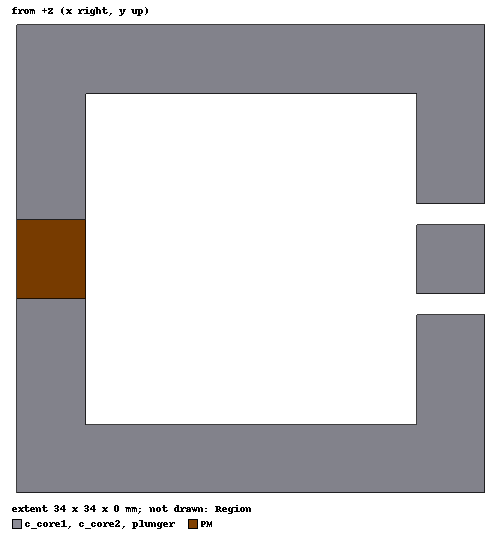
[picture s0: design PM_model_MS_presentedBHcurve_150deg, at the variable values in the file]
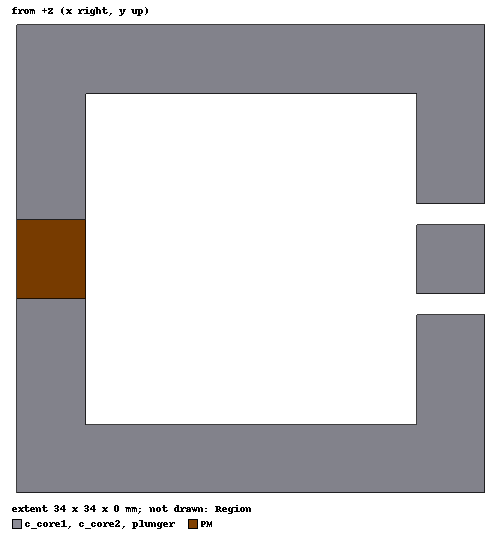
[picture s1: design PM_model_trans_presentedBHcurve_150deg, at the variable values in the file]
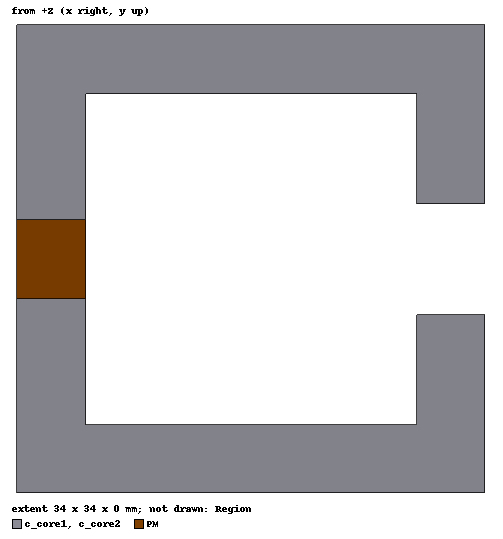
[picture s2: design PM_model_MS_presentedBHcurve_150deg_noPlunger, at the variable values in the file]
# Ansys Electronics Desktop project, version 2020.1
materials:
  vacuum: permittivity=1
  iron: permeability=4000 conductivity=10300000
  copper: permeability=0.999991 conductivity=58000000
  VACODYM 633AP  20Â°C: permeability{HUnit=kOe BUnit=tesla curve (-19, -1.9) (-18.9618, -1.81316) (-18.9237, -1.72632) (-18.8855, -1.63947) (-18.8473, -1.55263) (-18.8092, -1.46579) (-18.771, -1.37895) (-18.7328, -1.2921) (-18.6947, -1.20526) (-18.6565, -1.11842) (-18.6183, -1.03158) (-18.5692, -0.935463) (-18.5202, -0.865327) (-18.4711, -0.813935) (-18.422, -0.775376) (-18.3729, -0.745542) (-18.3239, -0.721724) (-18.2748, -0.702152) (-18.2257, -0.685651) (-18.1767, -0.671427) (-18.1276, -0.658928) (-18.0403, -0.639817) (-17.9531, -0.623525) (-17.8659, -0.609179) (-17.7786, -0.59623) (-17.6914, -0.584316) (-17.6041, -0.573187) (-17.5169, -0.562669) (-17.4296, -0.552635) (-17.3424, -0.542992) (-17.2552, -0.532926) (-15.5296, -0.352134) (-13.8041, -0.171341) (-12.1688, 0) (-12.0786, 0.00945162) (-10.3531, 0.190244) (-8.62758, 0.371037) (-6.90206, 0.551829) (-5.17655, 0.732622) (-3.45103, 0.913415) (-1.72552, 1.09421) (0, 1.275)} conductivity=714286 magnetic_coercivity{Magnitude=-12.168817kOe DirComp1=0 DirComp2=1 DirComp3=0}
  steel_1008: permeability=10000000000 conductivity=2000000 core_loss_type=None mass_density=7872 stacking_type=Solid
  NdFe35  150Â°C: permittivity=1 permeability{HUnit=A_per_meter BUnit=tesla curve (-1000000, -2.56666667) (-995000, -2.53458333) (-990000, -2.5025) (-985000, -2.47041667) (-980000, -2.43833333) (-975000, -2.40625) (-970000, -2.37416667) (-965000, -2.34208333) (-960000, -2.31) (-955000, -2.27791667) (-950000, -2.24583333) (-945000, -2.21375) (-940000, -2.18166667) (-935000, -2.14958333) (-930000, -2.1175) (-925000, -2.08541667) (-920000, -2.05333333) (-915000, -2.02125) (-910000, -1.98916667) (-905000, -1.95708333) (-900000, -1.925) (-895000, -1.89291667) (-890000, -1.86083333) (-885000, -1.82875) (-880000, -1.79666667) (-875000, -1.76458333) (-870000, -1.7325) (-865000, -1.70041667) (-860000, -1.66833333) (-855000, -1.63625) (-850000, -1.60416667) (-845000, -1.57208333) (-840000, -1.54) (-835000, -1.50791667) (-830000, -1.47583333) (-825000, -1.44375) (-820000, -1.41166667) (-815000, -1.37958333) (-810000, -1.3475) (-805000, -1.31541667) (-800000, -1.28333333) (-795000, -1.25125) (-790000, -1.21916667) (-785000, -1.18708333) (-780000, -1.155) (-775000, -1.12291667) (-770000, -1.09083333) (-765000, -1.05875) (-760000, -1.02666667) (-755000, -0.99458333) (-750000, -0.9625) (-745000, -0.93041667) (-740000, -0.89833333) (-735000, -0.86625) (-730000, -0.83416667) (-725000, -0.80208333) (-720000, -0.77) (-715000, -0.73791667) (-710000, -0.70583333) (-705000, -0.67375) (-700000, -0.64166667) (-695000, -0.60958333) (-690000, -0.5775) (-685000, -0.54541667) (-680000, -0.51333333) (-675000, -0.48125) (-670000, -0.44916667) (-665000, -0.41708333) (-660000, -0.385) (-655000, -0.35291667) (-650000, -0.32083333) (-645000, -0.28875) (-640000, -0.25666667) (-635000, -0.22458333) (-630000, -0.1925) (-625000, -0.16041667) (-620000, -0.12833333) (-615000, -0.09625) (-610000, -0.06416667) (-605000, -0.03208333) (-600000, 0) (-595000, 0.03194444) (-590000, 0.06268849) (-585000, 0.09223214) (-580000, 0.1205754) (-575000, 0.14771825) (-570000, 0.17366071) (-565000, 0.19840278) (-560000, 0.22194444) (-555000, 0.24428571) (-550000, 0.26542659) (-545455, 0.28536706) (-540455, 0.30410714) (-535455, 0.32164683) (-530455, 0.33798611) (-525455, 0.353125) (-520455, 0.36706349) (-515455, 0.37980159) (-510455, 0.39133929) (-505455, 0.40167659) (-500455, 0.41081349) (-495455, 0.41875) (-490455, 0.425625) (-485455, 0.4325) (-480455, 0.439375) (-475455, 0.44625) (-470455, 0.453125) (-465455, 0.46) (-460455, 0.466875) (-455455, 0.47375) (-450455, 0.480625) (-445455, 0.4875) (-440455, 0.494375) (-435455, 0.50125) (-430455, 0.508125) (-425455, 0.515) (-420455, 0.521875) (-415455, 0.52875) (-410455, 0.535625) (-405455, 0.5425)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} conductivity=625000 magnetic_coercivity{Magnitude=-599996.38A_per_meter DirComp1=0 DirComp2=1 DirComp3=0} lande_g_factor=2

design PM_model_MS_presentedBHcurve_150deg (Maxwell 2D, Magnetostatic, XY geometry, model units mm)
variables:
  l_m = 5.74mm
  h_m = 5mm
  l_g = 3mm
  l_plunger = 5mm
  x_init = 0mm
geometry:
  c_core1 [iron] = polyline(z=0mm, xy: (-26.5mm, 12mm) (-2.5mm, 12mm) (-2.5mm, 2.5mm+l_g/2) (2.5mm, 2.5mm+l_g/2) (2.5mm, 17mm) (-31.5mm, 17mm) (-31.5mm, 12mm) (-29mm-(h_m/2), l_m/2) (-29mm+(h_m/2), l_m/2) (-26.5mm, 12mm), covered)
  c_core2 [iron] = polyline(z=0mm, xy: (-2.5mm, -12mm) (-2.5mm, -2.5mm-l_g/2) (2.5mm, -2.5mm-l_g/2) (2.5mm, -17mm) (-31.5mm, -17mm) (-31.5mm, -12mm) (-29mm-(h_m/2), -l_m/2) (-29mm+(h_m/2), -l_m/2) (-26.5mm, -12mm) (-2.5mm, -12mm), closed, covered)
  PM [NdFe35  150Â°C] = polyline(z=0mm, xy: (-29mm-(h_m/2), -l_m/2) (-29mm+(h_m/2), -l_m/2) (-29mm+(h_m/2), l_m/2) (-29mm-(h_m/2), l_m/2) (-29mm-(h_m/2), -l_m/2), closed, covered)
  plunger [iron] = polyline(z=0mm, xy: (-2.5mm+x_init, -l_plunger/2) (2.5mm+x_init, -l_plunger/2) (2.5mm+x_init, l_plunger/2) (-2.5mm+x_init, l_plunger/2) (-2.5mm+x_init, -l_plunger/2), closed, covered)
  Region [vacuum] = region(percentage_offset: +X=100, -X=100, +Y=100, -Y=100, +Z=0, -Z=0)
  point mid_PM = (-29mm, 0mm, 0mm)
  point air-gap = (0mm, 3.25mm, 0mm)
  point Point1 = (0mm, 0mm, 0mm)
  point Point2 = (-29mm, 14.5mm, 0mm)
  point Point3 = (0mm, 14.5mm, 0mm)
  hoPM [non-model] = polyline((-31.5mm, 0mm, 0mm) (-26.5mm, 0mm, 0mm))
  hocore1 [non-model] = polyline((-31.5mm, l_m/2+1mm, 0mm) (-26.5mm, l_m/2+1mm, 0mm))
  hocore2 [non-model] = polyline((-14.5mm, 12mm, 0mm) (-14.5mm, 17mm, 0mm))
  hocore3 [non-model] = polyline((-2.5mm, 5mm, 0mm) (2.5mm, 5mm, 0mm))
  hoairgap1 [non-model] = polyline((-5mm, 3.25mm, 0mm) (5mm, 3.25mm, 0mm))
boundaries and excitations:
  VectorPotential1: Vector Potential Edges=Region.edge(all 4) Value=0
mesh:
  Background_Length: LengthBased RefineInside Objects=Region NumMaxElem=1000
  CCore_Length1: LengthBased RefineInside Objects=c_core1 NumMaxElem=1000
  CCore_Length2: LengthBased RefineInside Objects=c_core2 NumMaxElem=1000
  PM_Length: LengthBased RefineInside Objects=PM NumMaxElem=1000
  Plunger_Length: LengthBased RefineInside Objects=plunger NumMaxElem=1000
  initial mesh: MeshMethod=AnsoftTAU
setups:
  Setup1: Magnetostatic MaximumPasses=15 MinimumPasses=5 MinimumConvergedPasses=3 PercentRefinement=30 PercentError=1 ExpressionCache{CacheItem{Title=B_p1 Expression=B_y TraceID=93 ReportType=9} CacheItem{Title=H_p1 Expression=H_y TraceID=96 ReportType=9}} ConstantDelta=0s NonLinearResidual=0.0001
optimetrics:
  ParametricSetup1: Parametric Sim._Setups=[Setup1]
    sweep l_plunger: LIN 8.1mm 0.1mm -0.5mm
  ParametricSetup2: Parametric Sim._Setups=[Setup1]
    sweep l_g: LIN 2mm 10mm 0.5mm
  ParametricSetup3: Parametric Sim._Setups=[Setup1]
    sweep x_init: LIN -5mm 10mm 1mm
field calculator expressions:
  B_y = EnterCoord(Global) | UnitVecCSY | Fundamental_Quantity(22) | Dot
  H_y = EnterCoord(Global) | UnitVecCSY | Fundamental_Quantity(21) | Dot
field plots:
  Mag_B1, B_Vector1: B over c_core1, c_core2, PM, plunger, Region on Setup1 : LastAdaptive
  Mag_H1, H_Vector1: H over c_core1, c_core2, PM, plunger, Region on Setup1 : LastAdaptive
  Flux_Lines1: A over c_core1, c_core2, PM, plunger, Region on Setup1 : LastAdaptive
  Mesh1: MeshPlots over c_core1, c_core2, PM, plunger, Region on Setup1 : LastAdaptive
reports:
  recoil: B(teslas) vs H(A/m)
  PM_B: Mag_B vs Distance on Setup1 : LastAdaptive [l_g=all l_plunger=all x_init=all]
  airgap: Mag_B vs Distance on Setup1 : LastAdaptive
  PM_H: Mag_H vs Distance on Setup1 : LastAdaptive

design PM_model_trans_presentedBHcurve_150deg (Maxwell 2D, Transient, XY geometry, model units mm)
options: ComputeTransientInductance ModelDepth=5mm
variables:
  l_m = 5.74mm
  h_m = 5mm
  l_g = 3mm
  x_init = 0mm
  l_plunger = 5mm
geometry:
  c_core1 [iron] = polyline(z=0mm, xy: (-26.5mm, 12mm) (-2.5mm, 12mm) (-2.5mm, 2.5mm+l_g/2) (2.5mm, 2.5mm+l_g/2) (2.5mm, 17mm) (-31.5mm, 17mm) (-31.5mm, 12mm) (-29mm-(h_m/2), l_m/2) (-29mm+(h_m/2), l_m/2) (-26.5mm, 12mm), covered)
  c_core2 [iron] = polyline(z=0mm, xy: (-2.5mm, -12mm) (-2.5mm, -2.5mm-l_g/2) (2.5mm, -2.5mm-l_g/2) (2.5mm, -17mm) (-31.5mm, -17mm) (-31.5mm, -12mm) (-29mm-(h_m/2), -l_m/2) (-29mm+(h_m/2), -l_m/2) (-26.5mm, -12mm) (-2.5mm, -12mm), closed, covered)
  PM [NdFe35  150Â°C] = polyline(z=0mm, xy: (-29mm-(h_m/2), -l_m/2) (-29mm+(h_m/2), -l_m/2) (-29mm+(h_m/2), l_m/2) (-29mm-(h_m/2), l_m/2) (-29mm-(h_m/2), -l_m/2), closed, covered)
  plunger [iron] = polyline(z=0mm, xy: (-2.5mm+x_init, -l_plunger/2) (2.5mm+x_init, -l_plunger/2) (2.5mm+x_init, l_plunger/2) (-2.5mm+x_init, l_plunger/2) (-2.5mm+x_init, -l_plunger/2), closed, covered)
  Region [vacuum] = region(+X=20mm absolute position, -X=10 percentage offset, +Y=10 percentage offset, -Y=10 percentage offset, +Z=0 percentage offset, -Z=0 percentage offset)
  point Point1 = (-29mm, 0mm, 0mm)
  point Point2 = (0mm, 3.25mm, 0mm)
  midline [non-model] = polyline(z=0mm, xy in mm: (-29, -14.5) (-29, 14.5) (0, 14.5) (0, -14.5) (-29, -14.5), closed)
  PM_1 [non-model] = polyline((-29mm+h_m/2, 0mm, 0mm) (-29mm-h_m/2, 0mm, 0mm))
  airgap [non-model] = polyline((-5mm, l_plunger/2+l_g/4, 0mm) (5mm, l_plunger/2+l_g/4, 0mm))
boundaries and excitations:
  VectorPotential1: Vector Potential Edges=Region.edge(all 4) Value=0
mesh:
  Background_Length: LengthBased RefineInside Objects=Region NumMaxElem=1000
  Plunger_Length: LengthBased RefineInside Objects=plunger MaxLength=1mm
  Core_Length1: LengthBased RefineInside Objects=c_core1 NumMaxElem=1000
  Core_Length2: LengthBased RefineInside Objects=c_core2 NumMaxElem=1000
  PM_Length: LengthBased RefineInside Objects=PM NumMaxElem=1000
  initial mesh: MeshMethod=AnsoftTAU
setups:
  Setup1: Transient NonlinearSolverResidual=0.0001 StopTime=4s TimeStep=2s SaveFieldsType=Custom SweepRanges{0ms to 4s step 2s} NumberSolveSteps=1 RangeStart=0s RangeEnd=0.1s InitialTimeStep=0.002s MinTimeStep=0.001s MaxTimeStep=0.003s TimeStepErrTolerance=0.0001
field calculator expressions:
  B_y = Fundamental_Quantity(22) | EnterCoord(Global) | UnitVecCSY | Dot
  H_y = Fundamental_Quantity(21) | EnterCoord(Global) | UnitVecCSY | Dot
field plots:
  Mag_B1: B over c_core1, c_core2, PM, plunger, Region on Setup1 : Transient at Time=-1
  Mag_H1: H over c_core1, c_core2, PM, plunger, Region on Setup1 : Transient at Time=-1
  Demag_Coef1: Demag-Coef over PM on Setup1 : Transient at Time=-1
  Mesh1: MeshPlots over c_core1, c_core2, PM, plunger, Region on Setup1 : Transient at Time=-1
  Flux_Lines1: A over c_core1, c_core2, PM, plunger, Region on Setup1 : Transient at Time=-1
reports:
  recoil: B(teslas) vs H(A/m)
  PM_B: Mag_B vs Distance on Setup1 : Transient [Time=4000ms]
  PM_H: Mag_H vs Distance on Setup1 : Transient [Time=4000ms]
  airgap_B: Mag_B vs Distance on Setup1 : Transient [Time=4000ms]

design PM_model_MS_presentedBHcurve_150deg_noPlunger (Maxwell 2D, Magnetostatic, XY geometry, model units mm)
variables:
  l_m = 5.74mm
  h_m = 5mm
  l_g = 3mm
  l_plunger = 5mm
  x_init = 0mm
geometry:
  c_core1 [iron] = polyline(z=0mm, xy: (-26.5mm, 12mm) (-2.5mm, 12mm) (-2.5mm, 2.5mm+l_g/2) (2.5mm, 2.5mm+l_g/2) (2.5mm, 17mm) (-31.5mm, 17mm) (-31.5mm, 12mm) (-29mm-(h_m/2), l_m/2) (-29mm+(h_m/2), l_m/2) (-26.5mm, 12mm), covered)
  c_core2 [iron] = polyline(z=0mm, xy: (-2.5mm, -12mm) (-2.5mm, -2.5mm-l_g/2) (2.5mm, -2.5mm-l_g/2) (2.5mm, -17mm) (-31.5mm, -17mm) (-31.5mm, -12mm) (-29mm-(h_m/2), -l_m/2) (-29mm+(h_m/2), -l_m/2) (-26.5mm, -12mm) (-2.5mm, -12mm), closed, covered)
  PM [NdFe35  150Â°C] = polyline(z=0mm, xy: (-29mm-(h_m/2), -l_m/2) (-29mm+(h_m/2), -l_m/2) (-29mm+(h_m/2), l_m/2) (-29mm-(h_m/2), l_m/2) (-29mm-(h_m/2), -l_m/2), closed, covered)
  Region [vacuum] = region(percentage_offset: +X=100, -X=100, +Y=100, -Y=100, +Z=0, -Z=0)
  point mid_PM = (-29mm, 0mm, 0mm)
  point air-gap = (0mm, 3.25mm, 0mm)
  point Point1 = (0mm, 0mm, 0mm)
  point Point2 = (-29mm, 14.5mm, 0mm)
  point Point3 = (0mm, 14.5mm, 0mm)
  hoPM [non-model] = polyline((-31.5mm, 0mm, 0mm) (-26.5mm, 0mm, 0mm))
  hocore1 [non-model] = polyline((-31.5mm, l_m/2+1mm, 0mm) (-26.5mm, l_m/2+1mm, 0mm))
  hocore2 [non-model] = polyline((-14.5mm, 12mm, 0mm) (-14.5mm, 17mm, 0mm))
  hocore3 [non-model] = polyline((-2.5mm, 5mm, 0mm) (2.5mm, 5mm, 0mm))
  hoairgap1 [non-model] = polyline((-7mm, 0mm, 0mm) (7mm, 0mm, 0mm))
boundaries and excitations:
  VectorPotential1: Vector Potential Edges=Region.edge(all 4) Value=0
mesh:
  Background_Length: LengthBased RefineInside Objects=Region NumMaxElem=1000
  CCore_Length1: LengthBased RefineInside Objects=c_core1 NumMaxElem=1000
  CCore_Length2: LengthBased RefineInside Objects=c_core2 NumMaxElem=1000
  PM_Length: LengthBased RefineInside Objects=PM NumMaxElem=1000
  initial mesh: MeshMethod=AnsoftTAU
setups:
  Setup1: Magnetostatic MaximumPasses=15 MinimumPasses=5 MinimumConvergedPasses=3 PercentRefinement=30 PercentError=1 ExpressionCache{CacheItem{Title=B_p1 Expression=B_y TraceID=93 ReportType=9} CacheItem{Title=H_p1 Expression=H_y TraceID=96 ReportType=9}} ConstantDelta=0s NonLinearResidual=0.0001
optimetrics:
  ParametricSetup1: Parametric Sim._Setups=[Setup1]
    sweep l_plunger: LIN 8.1mm 0.1mm -0.5mm
  ParametricSetup2: Parametric Sim._Setups=[Setup1]
    sweep l_g: LIN 2mm 10mm 0.5mm
  ParametricSetup3: Parametric Sim._Setups=[Setup1]
    sweep x_init: LIN -5mm 10mm 1mm
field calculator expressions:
  B_y = EnterCoord(Global) | UnitVecCSY | Fundamental_Quantity(22) | Dot
  H_y = EnterCoord(Global) | UnitVecCSY | Fundamental_Quantity(21) | Dot
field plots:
  Mag_B1, B_Vector1: B over c_core1, c_core2, PM, Region on Setup1 : LastAdaptive
  Mag_H1, H_Vector1: H over c_core1, c_core2, PM, Region on Setup1 : LastAdaptive
  Flux_Lines1: A over c_core1, c_core2, PM, Region on Setup1 : LastAdaptive
  Mesh1: MeshPlots over c_core1, c_core2, PM, Region on Setup1 : LastAdaptive
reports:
  recoil: B(teslas) vs H(A/m)
  PM_B: Mag_B vs Distance on Setup1 : LastAdaptive [l_g=all l_plunger=all x_init=all]
  airgap: Mag_B vs Distance on Setup1 : LastAdaptive
  PM_H: Mag_H vs Distance on Setup1 : LastAdaptive
